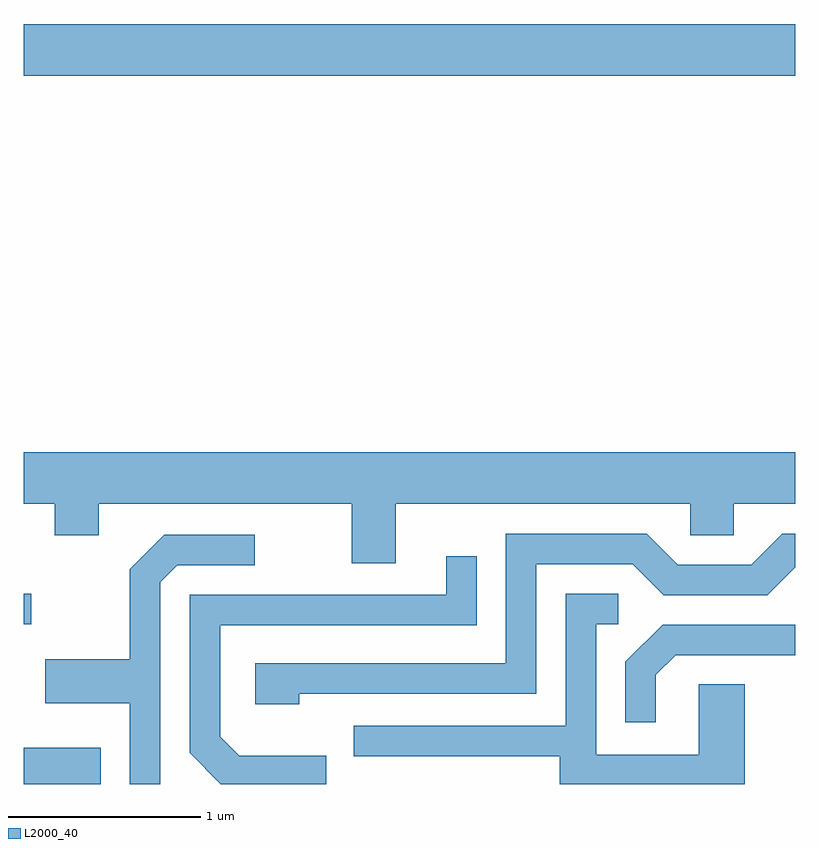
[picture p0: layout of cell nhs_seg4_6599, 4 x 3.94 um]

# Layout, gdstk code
import gdstk
lib = gdstk.Library(unit=1e-6, precision=1e-09)
def R(c, l, rs):  # rectangles x0, y0, x1, y1
    for r in rs: c.add(gdstk.rectangle(r[:2], r[2:], *l))
def P(c, l, *ps):  # polygons
    for p in ps: c.add(gdstk.Polygon(p, *l))
L2000_40 = (2000, 40)

nhs_seg4_6599 = lib.new_cell('nhs_seg4_6599')
R(nhs_seg4_6599, L2000_40, [(379.611,1259.982,380.009,1260.169), (379.611,1260.811,379.648,1260.969), (379.611,1263.656,383.611,1263.924)])
P(nhs_seg4_6599, L2000_40, [(381.539,1261.436),(383.066,1261.436),(383.066,1261.271),(383.294,1261.271),(383.294,1261.436),(383.611,1261.436),(383.611,1261.704),(379.611,1261.704),(379.611,1261.436),(379.771,1261.436),(379.771,1261.271),(379.999,1261.271),(379.999,1261.436),(381.311,1261.436),(381.311,1261.126),(381.539,1261.126)],
  [(381.039,1260.451),(382.269,1260.451),(382.269,1261.121),(382.769,1261.121),(382.929,1260.961),(383.467,1260.961),(383.611,1261.105),(383.611,1261.279),(383.544,1261.279),(383.384,1261.119),(383.002,1261.119),(382.842,1261.279),(382.111,1261.279),(382.111,1260.609),(380.811,1260.609),(380.811,1260.396),(381.039,1260.396)],
  [(380.319,1261.029),(380.407,1261.116),(380.808,1261.116),(380.808,1261.274),(380.339,1261.274),(380.161,1261.097),(380.161,1260.629),(379.721,1260.629),(379.721,1260.401),(380.161,1260.401),(380.161,1259.982),(380.319,1259.982)],
  [(381.179,1260.129),(380.727,1260.129),(380.629,1260.227),(380.629,1260.806),(381.959,1260.806),(381.959,1261.163),(381.801,1261.163),(381.801,1260.964),(380.471,1260.964),(380.471,1260.144),(380.633,1259.982),(381.179,1259.982)],
  [(383.349,1260.499),(383.111,1260.499),(383.111,1260.134),(382.579,1260.134),(382.579,1260.811),(382.693,1260.811),(382.693,1260.969),(382.421,1260.969),(382.421,1260.284),(381.323,1260.284),(381.323,1260.126),(382.391,1260.126),(382.391,1259.982),(383.349,1259.982)],
  [(382.889,1260.549),(382.992,1260.651),(383.611,1260.651),(383.611,1260.809),(382.924,1260.809),(382.731,1260.617),(382.731,1260.303),(382.889,1260.303)])

lib.write_gds('nhs_seg4_6599.gds')
